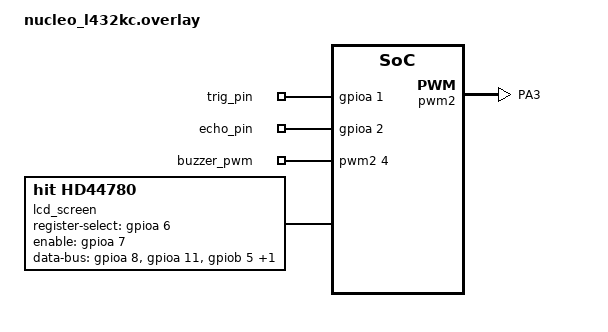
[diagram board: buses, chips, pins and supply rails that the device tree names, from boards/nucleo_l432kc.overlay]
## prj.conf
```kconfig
CONFIG_GPIO=y
CONFIG_PWM=y
CONFIG_AUXDISPLAY=y
```

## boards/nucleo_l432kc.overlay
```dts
/ {
    /* DigitalOut and DigitalIn for the sensor */
    gpio_outputs {
        compatible = "gpio-leds";
        trig_pin: trig_pin {
            gpios = <&gpioa 1 GPIO_ACTIVE_HIGH>; /* PA1 (A1) */
        };
    };

    gpio_inputs {
        compatible = "gpio-keys";
        echo_pin: echo_pin {
            gpios = <&gpioa 2 (GPIO_PULL_DOWN | GPIO_ACTIVE_HIGH)>; /* PA2 (A2) */
        };
    };

    /* PWM*/
    pwmleds: pwmleds {
        compatible = "pwm-leds";
        buzzer_pwm: buzzer_pwm {
            pwms = <&pwm2 4 PWM_MSEC(1) PWM_POLARITY_NORMAL>; /* PA3 (A3) */
        };
    };

    /* LCD */
    lcd_screen: hd44780 {
        compatible = "hit,hd44780";
        mode = <4>;
        register-select-gpios = <&gpioa 6 GPIO_ACTIVE_HIGH>;
        enable-gpios = <&gpioa 7 GPIO_ACTIVE_HIGH>;
        data-bus-gpios = <0>, <0>, <0>, <0>,
                         <&gpioa 8 GPIO_ACTIVE_HIGH>,
                         <&gpioa 11 GPIO_ACTIVE_HIGH>,
                         <&gpiob 5 GPIO_ACTIVE_HIGH>,
                         <&gpiob 4 GPIO_ACTIVE_HIGH>;
        columns = <16>;
        rows = <2>;
    };
};

/*PWM2 @ PA3 */
&pwm2 {
    status = "okay";
    pinctrl-0 = <&pwm2_custom>;
};

&pinctrl {
    pwm2_custom: pwm2_custom {
        pinmux = <STM32_PINMUX('A', 3, AF1)>; 
    };
};
```

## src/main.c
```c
/*
Program 13: parking sensor
Description: 
Course: 1064
Author: Daniel Mui
Date: 2/3/2026
 */

 //import tarrifs
#include <zephyr/kernel.h>
#include <zephyr/device.h>
#include <zephyr/drivers/gpio.h>
#include <zephyr/drivers/pwm.h>
#include <zephyr/drivers/auxdisplay.h>
#include <stdio.h>
#include <string.h>

// init vars from overlay
static const struct gpio_dt_spec trig_pin = GPIO_DT_SPEC_GET(DT_NODELABEL(trig_pin), gpios);
static const struct gpio_dt_spec echo_pin = GPIO_DT_SPEC_GET(DT_NODELABEL(echo_pin), gpios);
static const struct pwm_dt_spec buzzer = PWM_DT_SPEC_GET(DT_NODELABEL(buzzer_pwm));
static const struct device *const lcd_display = DEVICE_DT_GET(DT_NODELABEL(lcd_screen));

//dist function
int distance() {
    uint32_t timer_start;
    uint32_t timer_stop;
    uint32_t timer_value_us;

    /* obtuse set low*/
    gpio_pin_set_dt(&trig_pin, 0);
    k_sleep(K_MSEC(2)); 

    /* Send a 10us pulse */
    gpio_pin_set_dt(&trig_pin, 1);
    k_busy_wait(10);
    gpio_pin_set_dt(&trig_pin, 0);

    /* Wait for echo to go high */
    while (gpio_pin_get_dt(&echo_pin) == 0) {
        // Wait
    }

    /* Start */
    timer_start = k_cycle_get_32();

    /* Wait */
    while (gpio_pin_get_dt(&echo_pin) == 1) {
        // Wait
    }

    /* Stop */
    timer_stop = k_cycle_get_32();

    /* Read */
    timer_value_us = k_cyc_to_us_floor32(timer_stop - timer_start);

    /* Return dist*/
    if (timer_value_us > 23529) {
        return -1; // Out of range
    } else {
        return timer_value_us / 58; // Converts microseconds to cm (stole from internet)
    }
}

int main(void) {
    char lcd_msg[64];
    
    int tone_period = 1000000;       // 1,000,000 ns = 1 ms = 1kHz pitch
    int duty_cycle = tone_period / 2; // 50%

    // Init pins
    gpio_pin_configure_dt(&trig_pin, GPIO_OUTPUT_LOW);
    gpio_pin_configure_dt(&echo_pin, GPIO_INPUT);
    
    auxdisplay_clear(lcd_display);

//main prg

    while (1) {
        int dist = distance();
        
        if (dist < 0) {
            snprintf(lcd_msg, sizeof(lcd_msg), "Range Exceeded  ");
        } else {
            // Note: I added a couple of blank spaces after "cm" to overwrite 
            // leftover characters when moving from "100 cm" down to "9 cm"
            snprintf(lcd_msg, sizeof(lcd_msg), "Dist: %d cm   ", dist); 
        }
        
        /* Disp*/
        auxdisplay_cursor_position_set(lcd_display, AUXDISPLAY_POSITION_ABSOLUTE, 0, 0);
        auxdisplay_write(lcd_display, lcd_msg, strlen(lcd_msg));

        /* Buzzer*/
        if (dist < 0 || dist > 50) {
            // Out of range or safely above 50cm: OFF
            pwm_set_dt(&buzzer, tone_period, 0); 
            k_sleep(K_MSEC(100));
        } 
        else if (dist <= 5) {
            // 5cm or closer: Solid Tone
            pwm_set_dt(&buzzer, tone_period, duty_cycle); 
            k_sleep(K_MSEC(100)); 
        } 
        else {
            // Between 6cm (and 7) and 50cm: Beep
            int beep_delay_ms = dist * 10; // No casting needed anymore!
            
            // ON
            pwm_set_dt(&buzzer, tone_period, duty_cycle);
            k_sleep(K_MSEC(80)); 
            
            // OFF
            pwm_set_dt(&buzzer, tone_period, 0);
            k_sleep(K_MSEC(beep_delay_ms));
        }
    }
}
```
